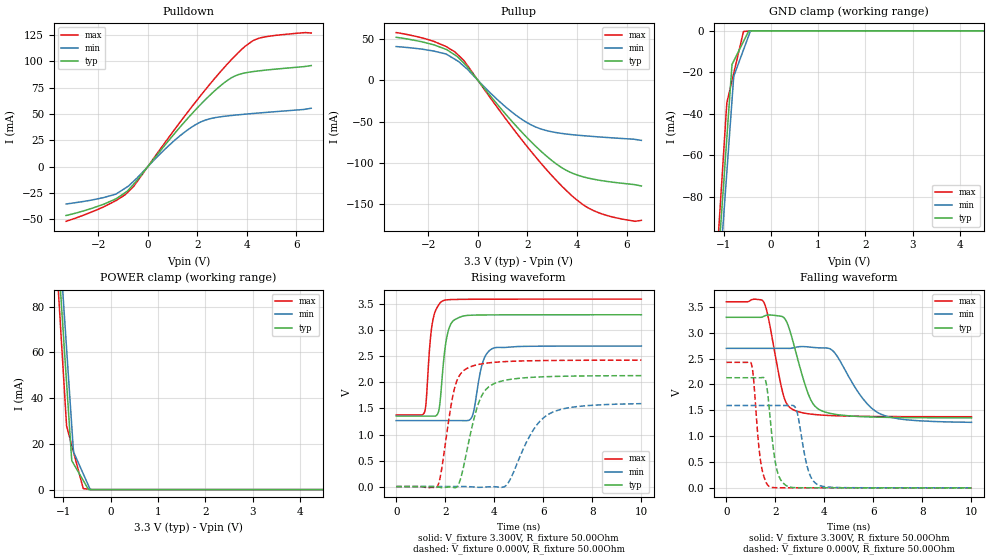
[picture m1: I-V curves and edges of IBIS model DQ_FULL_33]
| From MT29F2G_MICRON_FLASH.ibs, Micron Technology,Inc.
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|   MODEL DQ_FULL_33
[Model]   DQ_FULL_33
Model_type   I/O
Vinl = 660mV
Vinh = 2.640V
Vmeas = 1.650V
Cref = 50.000pF
|   typ   min   max
C_comp   3.35pF   2.89pF   3.89pF
[Model Spec]
| Input threshold voltage corners
Vinl   0.660V   0.540V   0.72V
Vinh   2.640V   2.160V   2.880V
| Measurement voltage corners
Vmeas   1.650V   1.3500V   1.800V
[Voltage Range]   3.300V   2.700V   3.600V
| Junction Temperature (Ambient temp is 25C typ, 70C min, 0C max)
[Temperature Range]   40   85   0
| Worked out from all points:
|   slope of the pulldown table from 0 to 0.495 V, typ, clamps not added: 33.6 ohm
|   slope of the pullup table from 0 to 0.495 V, typ, clamps not added: 26.7 ohm
|   GND clamp passes 1 mA (typ) near -0.49 V on its own axis
|   POWER clamp passes 1 mA (typ) near -0.49 V on its own axis
|   falling waveform, V_fixture 3.300V, R_fixture 50.00Ohm: 20-80 % time 733ps typ, 1.21ns min, 541ps max; typ from 3.3 V to 1.35 V
|   rising waveform, V_fixture 3.300V, R_fixture 50.00Ohm: 20-80 % time 270ps typ, 344ps min, 231ps max; typ from 1.35 V to 3.3 V
|   rising waveform, V_fixture 0.000V, R_fixture 50.00Ohm: 20-80 % time 680ps typ, 1.08ns min, 509ps max; typ from 0 V to 2.13 V
|   falling waveform, V_fixture 0.000V, R_fixture 50.00Ohm: 20-80 % time 311ps typ, 389ps min, 268ps max; typ from 2.13 V to 0 V
[Pulldown]
|   Voltage   I(typ)   I(min)   I(max)
-3.3V     -46.45mA   -35.5mA    -51.94mA
-1.29V    -30.66mA   -26.13mA   -32.35mA
-820mV    -23.14mA   -19.09mA   -24.49mA
-580mV    -16.94mA   -14.06mA   -19.05mA
850mV     24.94mA    20.02mA    27.84mA
1.92V     53.76mA    39.68mA    61.12mA
2.52V     68.07mA    45.55mA    78.65mA
3.15V     80.81mA    47.96mA    95.8mA
3.94V     89.03mA    49.83mA    114.5mA
4.31V     90.43mA    50.58mA    120.3mA
4.68V     91.46mA    51.3mA     123mA
6.6V      95.98mA    55.45mA    126.9mA
[GND Clamp]
|   Voltage   I(typ)   I(min)   I(max)
-3.3V     -1.02A     -968.1mA   -1.029A
-1.26V    -159.4mA   -173.1mA   -152.4mA
-940mV    -54.97mA   -71.38mA   -38.14mA
-930mV    -51.7mA    -68.2mA    -34.75mA
-820mV    -16.2mA    -33.24mA   -23.98mA
-790mV    -14.83mA   -23.7mA    -21.04mA
-780mV    -14.37mA   -21.66mA   -20.06mA
-580mV    -5.214mA   -9.283mA   -470.3uA
-570mV    -4.756mA   -8.664mA   -309.6uA
-470mV    -178.2uA   -2.475mA   -142.8uA
-430mV    -4.756uA   -5.66uA    -76.16uA
6.6V      0A         0A         0A
[Pullup]
|   Voltage   I(typ)   I(min)   I(max)
-3.3V     52.11mA    40.87mA    57.82mA
-1.76V    42.8mA     35.28mA    46.89mA
-930mV    30.7mA     25.49mA    34.42mA
-580mV    21.23mA    17.51mA    24.47mA
730mV     -27.12mA   -21.75mA   -30.65mA
1.7V      -60.37mA   -45.7mA    -69.26mA
2.51V     -84.75mA   -58.5mA    -99.09mA
3.41V     -106.1mA   -64.35mA   -128.6mA
4.23V     -116.6mA   -66.91mA   -150.1mA
4.79V     -120.3mA   -68.24mA   -159.2mA
5.84V     -124.6mA   -70.4mA    -168mA
6.6V      -127.8mA   -72.64mA   -169.4mA
[POWER Clamp]
|   Voltage   I(typ)   I(min)   I(max)
-3.3V     985.4mA    938.8mA    1.03A
-1.13V    109.1mA    123.4mA    95.73mA
-1.06V    87.24mA    101.8mA    71.9mA
-940mV    49.74mA    64.65mA    31.04mA
-930mV    46.61mA    61.55mA    27.83mA
-820mV    12.62mA    27.52mA    19.26mA
-790mV    11.55mA    18.24mA    16.92mA
-780mV    11.19mA    16.31mA    16.14mA
-570mV    3.71mA     6.525mA    422.7uA
-470mV    148.4uA    1.864mA    194.8uA
-430mV    11.55uA    4.464uA    103.6uA
6.6V      0A         0A         0A
[Ramp]
R_load = 50.00Ohm
|   typ   min   max
dV/dt_r   1.278V/679.487ps 955.391mV/1.078ns   1.457V/508.873ps
dV/dt_f   1.168V/732.644ps 858.876mV/1.209ns   1.334V/541.196ps
[Falling Waveform]
V_fixture = 3.300V
V_fixture_min = 2.700V
V_fixture_max = 3.600V
R_fixture = 50.00Ohm
|   Time   V(typ)   V(min)   V(max)
0s        3.3V       2.699V     3.6V
1.52ns    3.317V     2.699V     3.599V
2.32ns    3.305V     2.699V     1.806V
2.75ns    2.778V     2.711V     1.506V
3.39ns    1.76V      2.725V     1.431V
3.9ns     1.489V     2.708V     1.408V
4.42ns    1.424V     2.613V     1.396V
5.5ns     1.379V     1.769V     1.384V
6.25ns    1.367V     1.438V     1.38V
10ns      1.353V     1.268V     1.376V
[Rising Waveform]
V_fixture = 3.300V
V_fixture_min = 2.700V
V_fixture_max = 3.600V
R_fixture = 50.00Ohm
|   Time   V(typ)   V(min)   V(max)
0s        1.353V     1.268V     1.376V
1.15ns    1.353V     1.267V     1.424V
1.47ns    1.353V     1.267V     3.128V
1.74ns    1.465V     1.267V     3.496V
1.91ns    2.294V     1.267V     3.569V
2.22ns    3.115V     1.267V     3.591V
3.05ns    3.291V     1.306V     3.597V
3.55ns    3.296V     2.415V     3.598V
3.99ns    3.297V     2.662V     3.599V
10ns      3.3V       2.699V     3.6V
[Rising Waveform]
V_fixture = 0.000V
V_fixture_min = 0.000V
V_fixture_max = 0.000V
R_fixture = 50.00Ohm
|   Time   V(typ)   V(min)   V(max)
0s        25.22uV    700.9uV    -647.2nV
1.68ns    -6.742mV   710.2uV    -722.8uV
2.36ns    -18.12mV   689.3uV    1.852V
2.92ns    775.3mV    -397.4uV   2.279V
3.42ns    1.677V     -14.23mV   2.351V
4.06ns    1.99V      -3.357mV   2.388V
4.55ns    2.051V     59.19mV    2.403V
5.52ns    2.098V     1.033V     2.416V
6.26ns    2.112V     1.402V     2.421V
10ns      2.131V     1.593V     2.428V
[Falling Waveform]
V_fixture = 0.000V
V_fixture_min = 0.000V
V_fixture_max = 0.000V
R_fixture = 50.00Ohm
|   Time   V(typ)   V(min)   V(max)
0s        2.131V     1.593V     2.428V
1.02ns    2.131V     1.593V     2.401V
1.4ns     2.131V     1.593V     508.9mV
1.77ns    1.437V     1.593V     21.58mV
2.05ns    373.5mV    1.593V     2.912mV
2.51ns    27.49mV    1.593V     1.129mV
2.85ns    3.531mV    1.52V      732.5uV
3.31ns    1.381mV    392.5mV    444.8uV
3.74ns    827.1uV    58.11mV    291.6uV
10ns      25.22uV    700.9uV    -647.2nV
